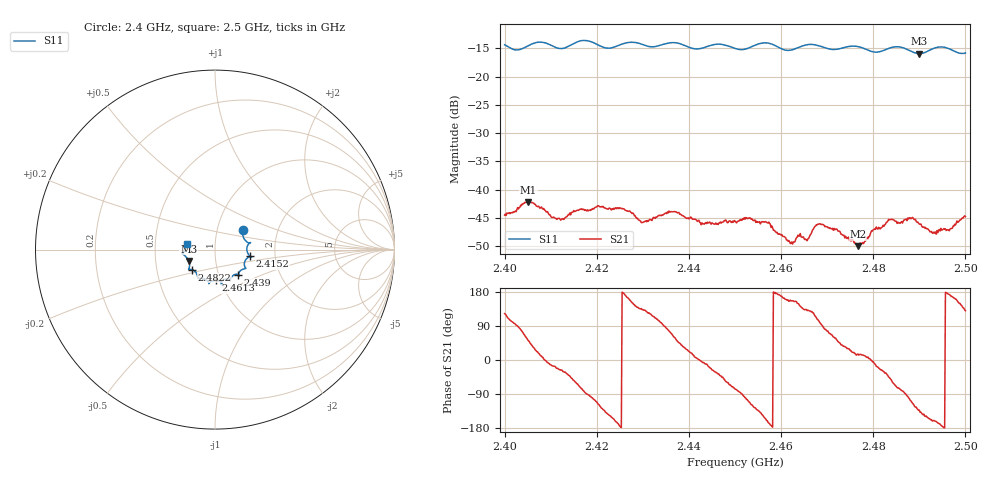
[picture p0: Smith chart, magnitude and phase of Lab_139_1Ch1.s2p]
# Hz S RI R 50
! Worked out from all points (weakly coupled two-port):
!   601 points, 2.4 GHz to 2.5 GHz, reference 50 ohm
!   highest |S21| = -42.17 dB at 2.4052 GHz (marker M1); lowest = -50.0 dB at 2.4767 GHz (marker M2)
!   lowest |S11| = -15.9 dB at 2.49 GHz (marker M3), VSWR 1.38, Z = 37 - j4.84 ohm
!   |S11| at or under -10 dB: start of sweep to end of sweep
!   S12 and S22 are empty: the file has one direction only
!   S11 on the Smith chart (normalised r, x): 2.4 GHz: 1.33, +0.31; 2.4152 GHz: 1.48, -0.11; 2.439 GHz: 1.24, -0.36; 2.4613 GHz: 0.96, -0.34; 2.4822 GHz: 0.76, -0.17; 2.5 GHz: 0.73, +0.05
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2.4e9  0.1563 0.1107  -0.00318 0.00503  0 0  0 0
2.405167e9  0.184 0.0388  0.00494 0.00602  0 0  0 0
2.411667e9  0.1779 0.0108  0.0051 -0.00225  0 0  0 0
2.415167e9  0.1944 -0.0364  0.00358 -0.00532  0 0  0 0
2.416667e9  0.2038 -0.0421  0.00163 -0.00658  0 0  0 0
2.422167e9  0.1682 -0.0613  -0.00521 -0.00434  0 0  0 0
2.4255e9  0.1674 -0.0987  -0.00683 0.000108  0 0  0 0
2.43e9  0.1589 -0.1082  -0.00351 0.00375  0 0  0 0
2.433333e9  0.1328 -0.1322  -0.00144 0.00569  0 0  0 0
2.439e9  0.1286 -0.139  0.00486 0.00312  0 0  0 0
2.45e9  0.069 -0.1639  0.00124 -0.00514  0 0  0 0
2.457e9  0.0394 -0.1946  -0.00479 -0.00177  0 0  0 0
2.461333e9  0.00723 -0.1708  -0.00331 0.00138  0 0  0 0
2.4655e9  -0.0332 -0.1881  -0.00246 0.00263  0 0  0 0
2.466667e9  -0.0335 -0.1899  -0.00259 0.00332  0 0  0 0
2.468833e9  -0.0352 -0.1809  -0.000191 0.00492  0 0  0 0
2.476667e9  -0.0951 -0.1582  0.00304 0.000871  0 0  0 0
2.482167e9  -0.1281 -0.1118  0.00421 -0.0024  0 0  0 0
2.483333e9  -0.1394 -0.1102  0.00389 -0.00384  0 0  0 0
2.49e9  -0.1464 -0.0639  -0.00334 -0.00367  0 0  0 0
2.4935e9  -0.1783 -0.0253  -0.00401 -0.00132  0 0  0 0
2.5e9  -0.1584 0.0333  -0.00372 0.00442  0 0  0 0
